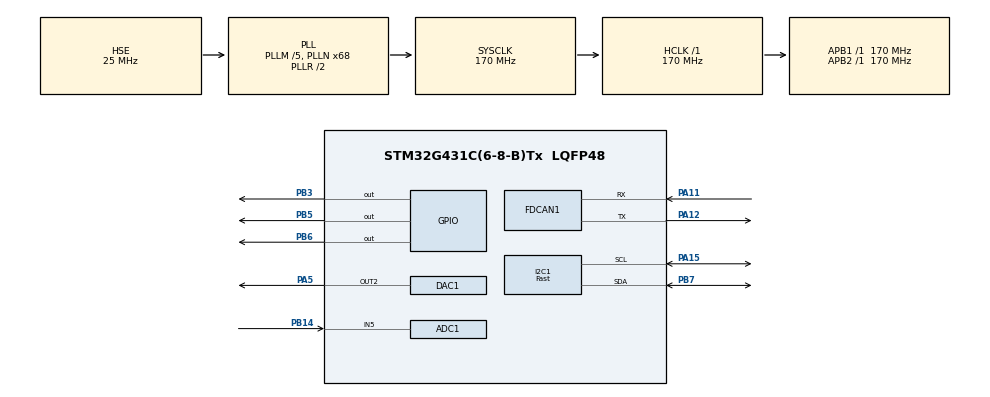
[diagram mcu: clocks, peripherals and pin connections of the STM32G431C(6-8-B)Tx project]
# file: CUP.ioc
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ADC1.Channel-1\#ChannelRegularConversion=ADC_CHANNEL_5
ADC1.ClockPrescaler=ADC_CLOCK_SYNC_PCLK_DIV4
ADC1.ContinuousConvMode=ENABLE
ADC1.DMAContinuousRequests=DISABLE
ADC1.NbrOfConversion=1
ADC1.NbrOfConversionFlag=1
ADC1.OffsetNumber-1\#ChannelRegularConversion=ADC_OFFSET_NONE
ADC1.Rank-1\#ChannelRegularConversion=1
ADC1.SamplingTime-1\#ChannelRegularConversion=ADC_SAMPLETIME_2CYCLES_5
ADC1.master=1
DAC1.DAC_Channel-DAC_OUT2_ExtAndInt=DAC_CHANNEL_2
Dma.ADC1.2.Direction=DMA_PERIPH_TO_MEMORY
Dma.ADC1.2.EventEnable=DISABLE
Dma.ADC1.2.Instance=DMA1_Channel1
Dma.ADC1.2.MemDataAlignment=DMA_MDATAALIGN_HALFWORD
Dma.ADC1.2.MemInc=DMA_MINC_ENABLE
Dma.ADC1.2.Mode=DMA_CIRCULAR
Dma.ADC1.2.PeriphDataAlignment=DMA_PDATAALIGN_HALFWORD
Dma.ADC1.2.PeriphInc=DMA_PINC_DISABLE
Dma.ADC1.2.Polarity=HAL_DMAMUX_REQ_GEN_RISING
Dma.ADC1.2.Priority=DMA_PRIORITY_VERY_HIGH
Dma.ADC1.2.RequestNumber=1
Dma.ADC1.2.SignalID=NONE
Dma.ADC1.2.SyncEnable=DISABLE
Dma.ADC1.2.SyncPolarity=HAL_DMAMUX_SYNC_NO_EVENT
Dma.ADC1.2.SyncRequestNumber=1
Dma.ADC1.2.SyncSignalID=NONE
Dma.I2C1_RX.0.Direction=DMA_PERIPH_TO_MEMORY
Dma.I2C1_RX.0.EventEnable=DISABLE
Dma.I2C1_RX.0.Instance=DMA1_Channel3
Dma.I2C1_RX.0.MemDataAlignment=DMA_MDATAALIGN_BYTE
Dma.I2C1_RX.0.MemInc=DMA_MINC_ENABLE
Dma.I2C1_RX.0.Mode=DMA_CIRCULAR
Dma.I2C1_RX.0.PeriphDataAlignment=DMA_PDATAALIGN_BYTE
Dma.I2C1_RX.0.PeriphInc=DMA_PINC_DISABLE
Dma.I2C1_RX.0.Polarity=HAL_DMAMUX_REQ_GEN_RISING
Dma.I2C1_RX.0.Priority=DMA_PRIORITY_VERY_HIGH
Dma.I2C1_RX.0.RequestNumber=1
Dma.I2C1_RX.0.SignalID=NONE
Dma.I2C1_RX.0.SyncEnable=DISABLE
Dma.I2C1_RX.0.SyncPolarity=HAL_DMAMUX_SYNC_NO_EVENT
Dma.I2C1_RX.0.SyncRequestNumber=1
Dma.I2C1_RX.0.SyncSignalID=NONE
Dma.I2C1_TX.1.Direction=DMA_MEMORY_TO_PERIPH
Dma.I2C1_TX.1.EventEnable=DISABLE
Dma.I2C1_TX.1.Instance=DMA1_Channel4
Dma.I2C1_TX.1.MemDataAlignment=DMA_MDATAALIGN_BYTE
Dma.I2C1_TX.1.MemInc=DMA_MINC_ENABLE
Dma.I2C1_TX.1.Mode=DMA_CIRCULAR
Dma.I2C1_TX.1.PeriphDataAlignment=DMA_PDATAALIGN_BYTE
Dma.I2C1_TX.1.PeriphInc=DMA_PINC_DISABLE
Dma.I2C1_TX.1.Polarity=HAL_DMAMUX_REQ_GEN_RISING
Dma.I2C1_TX.1.Priority=DMA_PRIORITY_VERY_HIGH
Dma.I2C1_TX.1.RequestNumber=1
Dma.I2C1_TX.1.SignalID=NONE
Dma.I2C1_TX.1.SyncEnable=DISABLE
Dma.I2C1_TX.1.SyncPolarity=HAL_DMAMUX_SYNC_NO_EVENT
Dma.I2C1_TX.1.SyncRequestNumber=1
Dma.I2C1_TX.1.SyncSignalID=NONE
Dma.Request0=I2C1_RX
Dma.Request1=I2C1_TX
Dma.Request2=ADC1
FDCAN1.DataPrescaler=17
FDCAN1.DataTimeSeg1=5
FDCAN1.DataTimeSeg2=4
FDCAN1.NominalPrescaler=17
FDCAN1.NominalTimeSeg1=5
FDCAN1.NominalTimeSeg2=4
FDCAN1.StdFiltersNbr=1
FREERTOS.Tasks01=thread_Transfer,2,128,Thread_Transfer,Default,NULL,Dynamic,NULL,NULL;Vcc_Task,2,128,Thread_Vcc,Default,NULL,Dynamic,NULL,NULL;Control,2,128,Thread_Control,Default,NULL,Dynamic,NULL,NULL
I2C1.I2C_Speed_Mode=I2C_Fast
I2C1.Timing=0x10802D9B
Mcu.Family=STM32G4
Mcu.Name=STM32G431C(6-8-B)Tx
Mcu.Package=LQFP48
NVIC.DMA1_Channel1_IRQn=true\:5\:0\:false\:false\:true\:true\:false\:true\:true
NVIC.DMA1_Channel3_IRQn=true\:5\:0\:false\:false\:true\:true\:false\:true\:true
NVIC.DMA1_Channel4_IRQn=true\:5\:0\:false\:false\:true\:true\:false\:true\:true
NVIC.FDCAN1_IT0_IRQn=true\:5\:0\:false\:false\:true\:true\:true\:true\:true
NVIC.I2C1_EV_IRQn=true\:5\:0\:false\:false\:true\:true\:true\:true\:true
NVIC.PriorityGroup=NVIC_PRIORITYGROUP_4
NVIC.TIM1_BRK_TIM15_IRQn=true\:15\:0\:false\:false\:true\:false\:false\:true\:true
NVIC.TimeBase=TIM1_BRK_TIM15_IRQn
NVIC.TimeBaseIP=TIM15
PA11.Mode=FDCAN_Activate
PA11.Signal=FDCAN1_RX
PA12.Mode=FDCAN_Activate
PA12.Signal=FDCAN1_TX
PA13.Mode=Serial_Wire
PA13.Signal=SYS_JTMS-SWDIO
PA14.Mode=Serial_Wire
PA14.Signal=SYS_JTCK-SWCLK
PA15.GPIO_Pu=GPIO_PULLUP
PA15.GPIO_Speed=GPIO_SPEED_FREQ_VERY_HIGH
PA15.Mode=I2C
PA15.Signal=I2C1_SCL
PA5.Signal=COMP_DAC12_group
PB14.Mode=IN5-Single-Ended
PB14.Signal=ADC1_IN5
PB3.GPIO_PuPd=GPIO_PULLUP
PB3.GPIO_Speed=GPIO_SPEED_FREQ_LOW
PB3.PinState=GPIO_PIN_SET
PB3.Signal=GPIO_Output
PB5.GPIO_PuPd=GPIO_PULLUP
PB5.Signal=GPIO_Output
PB6.GPIO_PuPd=GPIO_PULLUP
PB6.Signal=GPIO_Output
PB7.GPIO_FM7=__NULL
PB7.GPIO_Pu=GPIO_PULLUP
PB7.GPIO_Speed=GPIO_SPEED_FREQ_VERY_HIGH
PB7.Mode=I2C
PB7.Signal=I2C1_SDA
PF0-OSC_IN.Mode=HSE-External-Oscillator
PF0-OSC_IN.Signal=RCC_OSC_IN
PF1-OSC_OUT.Mode=HSE-External-Oscillator
PF1-OSC_OUT.Signal=RCC_OSC_OUT
ProjectManager.HeapSize=0x200
ProjectManager.StackSize=0x400
ProjectManager.TargetToolchain=MDK-ARM V5.27
RCC.ADC12Freq_Value=170000000
RCC.AHBFreq_Value=170000000
RCC.APB1Freq_Value=170000000
RCC.APB1TimFreq_Value=170000000
RCC.APB2Freq_Value=170000000
RCC.APB2TimFreq_Value=170000000
RCC.CortexFreq_Value=170000000
RCC.EXTERNAL_CLOCK_VALUE=12288000
RCC.HCLKFreq_Value=170000000
RCC.HSE_VALUE=25000000
RCC.HSI48_VALUE=48000000
RCC.HSI_VALUE=16000000
RCC.LSE_VALUE=32768
RCC.PLLM=RCC_PLLM_DIV5
RCC.PLLN=68
RCC.PLLSourceVirtual=RCC_PLLSOURCE_HSE
RCC.SYSCLKFreq_VALUE=170000000
RCC.SYSCLKSource=RCC_SYSCLKSOURCE_PLLCLK
RCC.USBFreq_Value=170000000
RCC.VCOOutputFreq_Value=340000000
SH.COMP_DAC12_group.0=DAC1_OUT2,DAC_OUT2_ExtAndInt
VP_FREERTOS_VS_CMSIS_V1.Mode=CMSIS_V1
VP_SYS_VS_DBSignals.Mode=DisableDeadBatterySignals
VP_SYS_VS_tim15.Mode=TIM15
board=custom

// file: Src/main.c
/* USER CODE BEGIN Header */
/**
  ******************************************************************************
  * @file           : main.c
  * @brief          : Main program body
  ******************************************************************************
  * @attention
  *
  * Copyright (c) 2022 STMicroelectronics.
  * All rights reserved.
  *
  * This software is licensed under terms that can be found in the LICENSE file
  * in the root directory of this software component.
  * If no LICENSE file comes with this software, it is provided AS-IS.
  *
  ******************************************************************************
  */
/* USER CODE END Header */
#include "main.h"
#include "cmsis_os.h"
#include "adc.h"
#include "dac.h"
#include "dma.h"
#include "fdcan.h"
#include "i2c.h"
#include "gpio.h"

/* USER CODE BEGIN Includes */
#include "ina219.h"
#include "adc.h"
#include "fdcan.h"
/* USER CODE END Includes */

void SystemClock_Config(void);
void MX_FREERTOS_Init(void);

/* USER CODE BEGIN 0 */
extern uint32_t adc_value[1];
/* USER CODE END 0 */

int main(void)
{

  /* MCU Configuration--------------------------------------------------------*/

  /* Reset of all peripherals, Initializes the Flash interface and the Systick. */
  HAL_Init();

  /* Configure the system clock */
  SystemClock_Config();

  /* Initialize all configured peripherals */
  MX_GPIO_Init();
  MX_DMA_Init();
  MX_DAC1_Init();
  MX_I2C1_Init();
  MX_ADC1_Init();
  MX_FDCAN1_Init();
  /* USER CODE BEGIN 2 */
	cap.Bat_V=38;
	INA_Init();
	FDCAN2_Config();
	HAL_DAC_SetValue(&hdac1,DAC_CHANNEL_2,DAC_ALIGN_12B_R,0);//DAC设置函数
	HAL_DAC_Start(&hdac1,DAC_CHANNEL_2);//开启DAC

	HAL_ADC_Start_DMA(&hadc1,adc_value,1);//开启ADC的DMA接收
  /* USER CODE END 2 */

  /* Call init function for freertos objects (in freertos.c) */
  MX_FREERTOS_Init();

  /* Start scheduler */
  osKernelStart();

  /* We should never get here as control is now taken by the scheduler */
  /* Infinite loop */
  while (1)
  {

  }
}

void SystemClock_Config(void)
{
  RCC_OscInitTypeDef RCC_OscInitStruct = {0};
  RCC_ClkInitTypeDef RCC_ClkInitStruct = {0};

  /** Configure the main internal regulator output voltage
  */
  HAL_PWREx_ControlVoltageScaling(PWR_REGULATOR_VOLTAGE_SCALE1_BOOST);

  /** Initializes the RCC Oscillators according to the specified parameters
  * in the RCC_OscInitTypeDef structure.
  */
  RCC_OscInitStruct.OscillatorType = RCC_OSCILLATORTYPE_HSE;
  RCC_OscInitStruct.HSEState = RCC_HSE_ON;
  RCC_OscInitStruct.PLL.PLLState = RCC_PLL_ON;
  RCC_OscInitStruct.PLL.PLLSource = RCC_PLLSOURCE_HSE;
  RCC_OscInitStruct.PLL.PLLM = RCC_PLLM_DIV5;
  RCC_OscInitStruct.PLL.PLLN = 68;
  RCC_OscInitStruct.PLL.PLLP = RCC_PLLP_DIV2;
  RCC_OscInitStruct.PLL.PLLQ = RCC_PLLQ_DIV2;
  RCC_OscInitStruct.PLL.PLLR = RCC_PLLR_DIV2;
  if (HAL_RCC_OscConfig(&RCC_OscInitStruct) != HAL_OK)
  {
    Error_Handler();
  }

  /** Initializes the CPU, AHB and APB buses clocks
  */
  RCC_ClkInitStruct.ClockType = RCC_CLOCKTYPE_HCLK|RCC_CLOCKTYPE_SYSCLK
                              |RCC_CLOCKTYPE_PCLK1|RCC_CLOCKTYPE_PCLK2;
  RCC_ClkInitStruct.SYSCLKSource = RCC_SYSCLKSOURCE_PLLCLK;
  RCC_ClkInitStruct.AHBCLKDivider = RCC_SYSCLK_DIV1;
  RCC_ClkInitStruct.APB1CLKDivider = RCC_HCLK_DIV1;
  RCC_ClkInitStruct.APB2CLKDivider = RCC_HCLK_DIV1;

  if (HAL_RCC_ClockConfig(&RCC_ClkInitStruct, FLASH_LATENCY_4) != HAL_OK)
  {
    Error_Handler();
  }
}

void HAL_TIM_PeriodElapsedCallback(TIM_HandleTypeDef *htim)
{
  if (htim->Instance == TIM15) {
    HAL_IncTick();
  }
}

void Error_Handler(void)
{
  __disable_irq();
  while (1)
  {
  }
}

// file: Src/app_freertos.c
/* USER CODE BEGIN Header */
/**
  ******************************************************************************
  * File Name          : app_freertos.c
  * Description        : Code for freertos applications
  ******************************************************************************
  * @attention
  *
  * Copyright (c) 2022 STMicroelectronics.
  * All rights reserved.
  *
  * This software is licensed under terms that can be found in the LICENSE file
  * in the root directory of this software component.
  * If no LICENSE file comes with this software, it is provided AS-IS.
  *
  ******************************************************************************
  */
/* USER CODE END Header */

#include "FreeRTOS.h"
#include "task.h"
#include "main.h"
#include "cmsis_os.h"

/* USER CODE BEGIN Includes */
#include "ina219.h"
#include "dac.h"
#include "adc.h"
#include "fdcan.h"
/* USER CODE END Includes */

/* USER CODE BEGIN Variables */
uint16_t AD_Value;
float AD_Value1;
extern uint32_t adc_value[1];
float Vcc_Battery;
float Vcc_Output;
extern float Buffer_power;
float dac_out=0;

extern struct supercap cap;

/* USER CODE END Variables */
osThreadId thread_TransferHandle;
osThreadId Vcc_TaskHandle;
osThreadId ControlHandle;

void Thread_Transfer(void const * argument);
void Thread_Vcc(void const * argument);
void Thread_Control(void const * argument);

void MX_FREERTOS_Init(void); /* (MISRA C 2004 rule 8.1) */

void MX_FREERTOS_Init(void) {

  /* Create the thread(s) */
  /* definition and creation of thread_Transfer */
  osThreadDef(thread_Transfer, Thread_Transfer, osPriorityHigh, 0, 128);
  thread_TransferHandle = osThreadCreate(osThread(thread_Transfer), NULL);

  /* definition and creation of Vcc_Task */
  osThreadDef(Vcc_Task, Thread_Vcc, osPriorityHigh, 0, 128);
  Vcc_TaskHandle = osThreadCreate(osThread(Vcc_Task), NULL);

  /* definition and creation of Control */
  osThreadDef(Control, Thread_Control, osPriorityHigh, 0, 128);
  ControlHandle = osThreadCreate(osThread(Control), NULL);

}

void Thread_Transfer(void const * argument)
{
  /* USER CODE BEGIN Thread_Transfer */
  /* Infinite loop */
  for(;;)
  {
		CAN1_0x1FF_TX(INA219_D.Voltage,INA219_D.Power,Vcc_Battery,Vcc_Battery);
    /*
		Transfer_data[0] = INA219_D.Voltage;
		Transfer_data[1] = INA219_D.Power;
		Transfer_data[2] = 0;
*/
    osDelay(10);
  }
  /* USER CODE END Thread_Transfer */
}

void Thread_Vcc(void const * argument)
{
  for(;;)
  {
    osDelay(1);
  }
}

/* USER CODE BEGIN Header_Thread_Control */
/**
* @brief Function implementing the Control thread.
* @param argument: Not used
* @retval None
*/
int cnt10=0;
int cnt12=0;
int cnt13=0;
int Target_power=40;
/* USER CODE END Header_Thread_Control */
void Thread_Control(void const * argument)
{
  /* USER CODE BEGIN Thread_Control */
  /* Infinite loop */
  for(;;)
  {
    INA_GET_Voltage_MV();//获取当前电压
		INA_GET_Current_MA();//获取当前电流
		INA_GET_Power_MW();//获取当前功率

		/*
		HAL_ADC_Start(&hadc1);//启动adc转换
		HAL_ADC_PollForConversion(&hadc1, 0);//等待转换完成，第二个参数表示超时时间，单位ms
		if(HAL_IS_BIT_SET(HAL_ADC_GetState(&hadc1), HAL_ADC_STATE_REG_EOC))//
			{
					AD_Value = HAL_ADC_GetValue(&hadc1);//读取ADC转换数据，数据为12位
				AD_Value1=(float)AD_Value*33/4096;
				cnt10++;
			}
		*/
		HAL_ADC_Start_DMA(&hadc1,adc_value,1);//开启ADC的DMA接收
		Vcc_Battery = adc_value[0]*3.3f/4096.0f*10;

//		if(Buffer_power>10)	Target_power=cap.Bat_V+5;
//		else if(Buffer_power<10)	Target_power=cap.Bat_V-8;

		if(cnt10>20)
		{
			HAL_GPIO_TogglePin(GPIOB,GPIO_PIN_5);
			HAL_GPIO_TogglePin(GPIOB,GPIO_PIN_6);
			cnt10=0;
		}

		dac_out=(cap.Bat_V)*0.2/Vcc_Battery;
		if(dac_out>1.2) dac_out=1.2;
		dac_out=dac_out/3.3*4095;
    HAL_DAC_SetValue(&hdac1,DAC_CHANNEL_2,DAC_ALIGN_12B_R,dac_out);
    osDelay(10);
  }
  /* USER CODE END Thread_Control */
}
